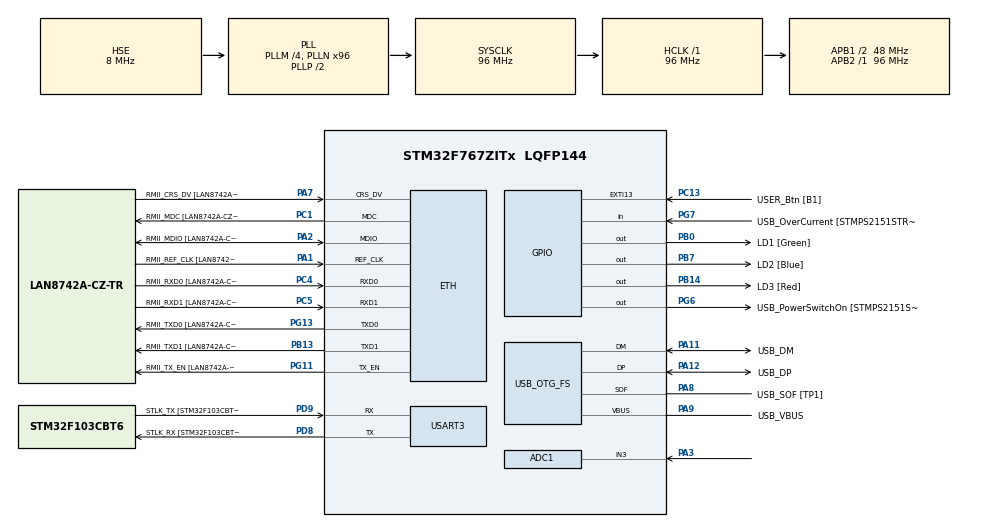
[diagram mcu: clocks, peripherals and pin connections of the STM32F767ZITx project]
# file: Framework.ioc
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ADC1.Channel-0\#ChannelRegularConversion=ADC_CHANNEL_3
ADC1.ClockPrescaler=ADC_CLOCK_SYNC_PCLK_DIV8
ADC1.ContinuousConvMode=ENABLE
ADC1.DMAContinuousRequests=DISABLE
ADC1.NbrOfConversionFlag=1
ADC1.Rank-0\#ChannelRegularConversion=1
ADC1.SamplingTime-0\#ChannelRegularConversion=ADC_SAMPLETIME_3CYCLES
ADC1.master=1
ETH.MediaInterface=HAL_ETH_RMII_MODE
ETH.PHY_Name=LAN8742A_PHY_ADDRESS
ETH.PHY_Value=0
ETH.PhyAddress=0
Mcu.Family=STM32F7
Mcu.Name=STM32F767ZITx
Mcu.Package=LQFP144
NVIC.EXTI15_10_IRQn=true\:0\:0\:false\:false\:true\:true\:true\:true
NVIC.PriorityGroup=NVIC_PRIORITYGROUP_4
NVIC.TIM6_DAC_IRQn=true\:0\:0\:false\:false\:true\:true\:true\:true
NVIC.USART3_IRQn=true\:0\:0\:false\:false\:true\:true\:true\:true
PA1.GPIO_Label=RMII_REF_CLK [LAN8742A-CZ-TR_REFCLK0]
PA1.Mode=RMII
PA1.Signal=ETH_REF_CLK
PA10.GPIO_Label=USB_ID
PA10.Signal=USB_OTG_FS_ID
PA11.GPIO_Label=USB_DM
PA11.Mode=Device_Only
PA11.Signal=USB_OTG_FS_DM
PA12.GPIO_Label=USB_DP
PA12.Mode=Device_Only
PA12.Signal=USB_OTG_FS_DP
PA13.GPIO_Label=TMS
PA13.Mode=Serial_Wire
PA13.Signal=SYS_JTMS-SWDIO
PA14.GPIO_Label=TCK
PA14.Mode=Serial_Wire
PA14.Signal=SYS_JTCK-SWCLK
PA2.GPIO_Label=RMII_MDIO [LAN8742A-CZ-TR_MDIO]
PA2.Mode=RMII
PA2.Signal=ETH_MDIO
PA3.Signal=ADCx_IN3
PA7.GPIO_Label=RMII_CRS_DV [LAN8742A-CZ-TR_CRS_DV]
PA7.Mode=RMII
PA7.Signal=ETH_CRS_DV
PA8.GPIO_Label=USB_SOF [TP1]
PA8.Mode=Activate_SOF_FS
PA8.Signal=USB_OTG_FS_SOF
PA9.GPIO_Label=USB_VBUS
PA9.Mode=Activate_VBUS
PA9.Signal=USB_OTG_FS_VBUS
PB0.GPIO_Label=LD1 [Green]
PB0.Signal=GPIO_Output
PB13.GPIO_Label=RMII_TXD1 [LAN8742A-CZ-TR_TXD1]
PB13.Mode=RMII
PB13.Signal=ETH_TXD1
PB14.GPIO_Label=LD3 [Red]
PB14.Signal=GPIO_Output
PB3.GPIO_Label=SWO
PB3.Signal=SYS_JTDO-SWO
PB7.GPIO_Label=LD2 [Blue]
PB7.Signal=GPIO_Output
PC1.GPIO_Label=RMII_MDC [LAN8742A-CZ-TR_MDC]
PC1.Mode=RMII
PC1.Signal=ETH_MDC
PC13.GPIO_Label=USER_Btn [B1]
PC13.GPIO_PuPd=GPIO_PULLDOWN
PC13.Signal=GPXTI13
PC14/OSC32_IN.Mode=LSE-External-Oscillator
PC14/OSC32_IN.Signal=RCC_OSC32_IN
PC15/OSC32_OUT.Mode=LSE-External-Oscillator
PC15/OSC32_OUT.Signal=RCC_OSC32_OUT
PC4.GPIO_Label=RMII_RXD0 [LAN8742A-CZ-TR_RXD0]
PC4.Mode=RMII
PC4.Signal=ETH_RXD0
PC5.GPIO_Label=RMII_RXD1 [LAN8742A-CZ-TR_RXD1]
PC5.Mode=RMII
PC5.Signal=ETH_RXD1
PD8.GPIO_Label=STLK_RX [STM32F103CBT6_PA3]
PD8.Mode=Asynchronous
PD8.Signal=USART3_TX
PD9.GPIO_Label=STLK_TX [STM32F103CBT6_PA2]
PD9.Mode=Asynchronous
PD9.Signal=USART3_RX
PG11.GPIO_Label=RMII_TX_EN [LAN8742A-CZ-TR_TXEN]
PG11.Mode=RMII
PG11.Signal=ETH_TX_EN
PG13.GPIO_Label=RMII_TXD0 [LAN8742A-CZ-TR_TXD0]
PG13.Mode=RMII
PG13.Signal=ETH_TXD0
PG6.GPIO_Label=USB_PowerSwitchOn [STMPS2151STR_EN]
PG6.Signal=GPIO_Output
PG7.GPIO_Label=USB_OverCurrent [STMPS2151STR_FAULT]
PG7.Signal=GPIO_Input
PH0/OSC_IN.GPIO_Label=MCO [STM32F103CBT6_PA8]
PH0/OSC_IN.Mode=HSE-External-Clock-Source
PH0/OSC_IN.Signal=RCC_OSC_IN
PH1/OSC_OUT.Mode=HSE-External-Clock-Source
PH1/OSC_OUT.Signal=RCC_OSC_OUT
ProjectManager.HeapSize=0x200
ProjectManager.StackSize=0x400
ProjectManager.TargetToolchain=STM32CubeIDE
RCC.48MHZClocksFreq_Value=24000000
RCC.AHBFreq_Value=96000000
RCC.APB1CLKDivider=RCC_HCLK_DIV2
RCC.APB1Freq_Value=48000000
RCC.APB1TimFreq_Value=96000000
RCC.APB2Freq_Value=96000000
RCC.APB2TimFreq_Value=96000000
RCC.CortexFreq_Value=96000000
RCC.HCLKFreq_Value=96000000
RCC.HSE_VALUE=8000000
RCC.HSI_VALUE=16000000
RCC.PLLM=4
RCC.PLLMUL=RCC_PLL_MUL9
RCC.PLLN=96
RCC.PLLQ=4
RCC.PRESCALERUSB=RCC_USBCLKSOURCE_PLL_DIV1_5
RCC.SYSCLKFreq_VALUE=96000000
RCC.SYSCLKSource=RCC_SYSCLKSOURCE_PLLCLK
RCC.SYSCLKSourceVirtual=RCC_SYSCLKSOURCE_PLLCLK
RCC.USBFreq_Value=48000000
RCC.VCOOutputFreq_Value=192000000
SH.ADCx_IN3.0=ADC1_IN3,IN3
TIM6.Period=800-1
TIM6.Prescaler=24-1
USART3.VirtualMode-Asynchronous=VM_ASYNC
USB_OTG_FS.VirtualMode=Device_Only
VP_RTC_VS_RTC_Activate.Mode=RTC_Enabled
VP_RTC_VS_RTC_Calendar.Mode=RTC_Calendar
VP_TIM6_VS_ClockSourceINT.Mode=Enable_Timer
board=NUCLEO-F767ZI

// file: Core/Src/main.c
/* USER CODE BEGIN Header */
/**
 ******************************************************************************
 * @file           : main.c
 * @brief          : Main program body
 ******************************************************************************
 * @attention
 *
 * Copyright (c) 2023 STMicroelectronics.
 * All rights reserved.
 *
 * This software is licensed under terms that can be found in the LICENSE file
 * in the root directory of this software component.
 * If no LICENSE file comes with this software, it is provided AS-IS.
 *
 ******************************************************************************
 */
/* USER CODE END Header */
#include "main.h"
#include "string.h"

/* USER CODE BEGIN Includes */
#include <stdio.h>
#include <stdbool.h>
#include <stdlib.h>
#include <stdint.h>
#include <math.h>
#include <float.h>
#include "mylib.h"
#include "wavelib.h"
#include "retarget.h"
#include "defines.h"
#include "model.h"
/* USER CODE END Includes */

#if defined ( __ICCARM__ ) /*!< IAR Compiler */
#pragma location=0x2007c000
ETH_DMADescTypeDef  DMARxDscrTab[ETH_RX_DESC_CNT]; /* Ethernet Rx DMA Descriptors */
#pragma location=0x2007c0a0
ETH_DMADescTypeDef  DMATxDscrTab[ETH_TX_DESC_CNT]; /* Ethernet Tx DMA Descriptors */

#elif defined ( __CC_ARM )  /* MDK ARM Compiler */

__attribute__((at(0x2007c000))) ETH_DMADescTypeDef  DMARxDscrTab[ETH_RX_DESC_CNT]; /* Ethernet Rx DMA Descriptors */
__attribute__((at(0x2007c0a0))) ETH_DMADescTypeDef  DMATxDscrTab[ETH_TX_DESC_CNT]; /* Ethernet Tx DMA Descriptors */

#elif defined ( __GNUC__ ) /* GNU Compiler */
ETH_DMADescTypeDef DMARxDscrTab[ETH_RX_DESC_CNT] __attribute__((section(".RxDecripSection"))); /* Ethernet Rx DMA Descriptors */
ETH_DMADescTypeDef DMATxDscrTab[ETH_TX_DESC_CNT] __attribute__((section(".TxDecripSection")));   /* Ethernet Tx DMA Descriptors */

#endif

ETH_TxPacketConfig TxConfig;

ADC_HandleTypeDef hadc1;

ETH_HandleTypeDef heth;

RTC_HandleTypeDef hrtc;

TIM_HandleTypeDef htim6;

UART_HandleTypeDef huart3;

PCD_HandleTypeDef hpcd_USB_OTG_FS;

/* USER CODE BEGIN PV */
bool snap_request 	= FALSE;					// set true to request a snapshot acquisition
bool snap_recorded 	= FALSE;					// snap recording finished flag
bool evaluate_flag 	= FALSE;					// evaluate snap request flag
bool transmit_flag 	= FALSE;					// evaluate snap request flag
uint16_t adc_buf[ADC_BUF_LEN]; 					// reserve a buffer for the analogue readings
uint16_t timer_index = 0;						// index for the timer interrupt analog conversion

int feat_len = TD_FEAT + pow(2,TREE_DEPTH); 	// features array length
double *feat_array = NULL;					/* features array {0, ... ,TD_FEAT-1, TDFEAT, feat_len-1}
																time-domain		...		freq-domain		*/
double *feat_stdsd = NULL;
char timestamp[13];								// timestamp string
uint32_t tickmem = 0;							// for debluncing the INPUT
/* USER CODE END PV */

void SystemClock_Config(void);
static void MX_GPIO_Init(void);
static void MX_USART3_UART_Init(void);
static void MX_USB_OTG_FS_PCD_Init(void);
static void MX_ADC1_Init(void);
static void MX_ETH_Init(void);
static void MX_TIM6_Init(void);
static void MX_RTC_Init(void);

int main(void)
{
  /* USER CODE BEGIN 1 */
	int feat_len = TD_FEAT + pow(2,TREE_DEPTH); 			// features array length
	feat_array = (double *)malloc(sizeof(double) * feat_len);	/* features array {0, ... ,TD_FEAT-1, TDFEAT, feat_len-1}
																	time-domain		...		freq-domain		*/
	feat_stdsd = (double *)malloc(sizeof(double) * feat_len); // standardised features
	uint8_t Rx_data[10];  //  creating a buffer of 10 bytes to hold the command from python
  /* USER CODE END 1 */

  /* MCU Configuration--------------------------------------------------------*/

  /* Reset of all peripherals, Initializes the Flash interface and the Systick. */
  HAL_Init();

  /* Configure the system clock */
  SystemClock_Config();

  /* Initialize all configured peripherals */
  MX_GPIO_Init();
  MX_USART3_UART_Init();
  MX_USB_OTG_FS_PCD_Init();
  MX_ADC1_Init();
  MX_ETH_Init();
  MX_TIM6_Init();
  MX_RTC_Init();
  /* USER CODE BEGIN 2 */
	RetargetInit(&huart3); 						// redirect printf and scanf to huart
	HAL_TIM_Base_Start_IT(&htim6);  			// start the timer 5 kHz
	HAL_UART_Receive_IT(&huart2, Rx_data, 4); 	// start new data read from huart
  /* USER CODE END 2 */

  /* Infinite loop */
  /* USER CODE BEGIN WHILE */
	printf(" \r\n Entering the superloop... \r\n");
	while (1)
	{
		snapReadyHandler();

    /* USER CODE END WHILE */

	}
}

void SystemClock_Config(void)
{
  RCC_OscInitTypeDef RCC_OscInitStruct = {0};
  RCC_ClkInitTypeDef RCC_ClkInitStruct = {0};

  /** Configure LSE Drive Capability
  */
  HAL_PWR_EnableBkUpAccess();

  /** Configure the main internal regulator output voltage
  */
  __HAL_RCC_PWR_CLK_ENABLE();
  __HAL_PWR_VOLTAGESCALING_CONFIG(PWR_REGULATOR_VOLTAGE_SCALE3);

  /** Initializes the RCC Oscillators according to the specified parameters
  * in the RCC_OscInitTypeDef structure.
  */
  RCC_OscInitStruct.OscillatorType = RCC_OSCILLATORTYPE_LSI|RCC_OSCILLATORTYPE_HSE;
  RCC_OscInitStruct.HSEState = RCC_HSE_BYPASS;
  RCC_OscInitStruct.LSIState = RCC_LSI_ON;
  RCC_OscInitStruct.PLL.PLLState = RCC_PLL_ON;
  RCC_OscInitStruct.PLL.PLLSource = RCC_PLLSOURCE_HSE;
  RCC_OscInitStruct.PLL.PLLM = 4;
  RCC_OscInitStruct.PLL.PLLN = 96;
  RCC_OscInitStruct.PLL.PLLP = RCC_PLLP_DIV2;
  RCC_OscInitStruct.PLL.PLLQ = 4;
  RCC_OscInitStruct.PLL.PLLR = 2;
  if (HAL_RCC_OscConfig(&RCC_OscInitStruct) != HAL_OK)
  {
    Error_Handler();
  }

  /** Activate the Over-Drive mode
  */
  if (HAL_PWREx_EnableOverDrive() != HAL_OK)
  {
    Error_Handler();
  }

  /** Initializes the CPU, AHB and APB buses clocks
  */
  RCC_ClkInitStruct.ClockType = RCC_CLOCKTYPE_HCLK|RCC_CLOCKTYPE_SYSCLK
                              |RCC_CLOCKTYPE_PCLK1|RCC_CLOCKTYPE_PCLK2;
  RCC_ClkInitStruct.SYSCLKSource = RCC_SYSCLKSOURCE_PLLCLK;
  RCC_ClkInitStruct.AHBCLKDivider = RCC_SYSCLK_DIV1;
  RCC_ClkInitStruct.APB1CLKDivider = RCC_HCLK_DIV2;
  RCC_ClkInitStruct.APB2CLKDivider = RCC_HCLK_DIV1;

  if (HAL_RCC_ClockConfig(&RCC_ClkInitStruct, FLASH_LATENCY_3) != HAL_OK)
  {
    Error_Handler();
  }
}

static void MX_ADC1_Init(void)
{

  ADC_ChannelConfTypeDef sConfig = {0};

  /** Configure the global features of the ADC (Clock, Resolution, Data Alignment and number of conversion)
  */
  hadc1.Instance = ADC1;
  hadc1.Init.ClockPrescaler = ADC_CLOCK_SYNC_PCLK_DIV8;
  hadc1.Init.Resolution = ADC_RESOLUTION_12B;
  hadc1.Init.ScanConvMode = ADC_SCAN_DISABLE;
  hadc1.Init.ContinuousConvMode = ENABLE;
  hadc1.Init.DiscontinuousConvMode = DISABLE;
  hadc1.Init.ExternalTrigConvEdge = ADC_EXTERNALTRIGCONVEDGE_NONE;
  hadc1.Init.ExternalTrigConv = ADC_SOFTWARE_START;
  hadc1.Init.DataAlign = ADC_DATAALIGN_RIGHT;
  hadc1.Init.NbrOfConversion = 1;
  hadc1.Init.DMAContinuousRequests = DISABLE;
  hadc1.Init.EOCSelection = ADC_EOC_SINGLE_CONV;
  if (HAL_ADC_Init(&hadc1) != HAL_OK)
  {
    Error_Handler();
  }

  /** Configure for the selected ADC regular channel its corresponding rank in the sequencer and its sample time.
  */
  sConfig.Channel = ADC_CHANNEL_3;
  sConfig.Rank = ADC_REGULAR_RANK_1;
  sConfig.SamplingTime = ADC_SAMPLETIME_3CYCLES;
  if (HAL_ADC_ConfigChannel(&hadc1, &sConfig) != HAL_OK)
  {
    Error_Handler();
  }

}

static void MX_ETH_Init(void)
{

   static uint8_t MACAddr[6];

  heth.Instance = ETH;
  MACAddr[0] = 0x00;
  MACAddr[1] = 0x80;
  MACAddr[2] = 0xE1;
  MACAddr[3] = 0x00;
  MACAddr[4] = 0x00;
  MACAddr[5] = 0x00;
  heth.Init.MACAddr = &MACAddr[0];
  heth.Init.MediaInterface = HAL_ETH_RMII_MODE;
  heth.Init.TxDesc = DMATxDscrTab;
  heth.Init.RxDesc = DMARxDscrTab;
  heth.Init.RxBuffLen = 1524;

  if (HAL_ETH_Init(&heth) != HAL_OK)
  {
    Error_Handler();
  }

  memset(&TxConfig, 0 , sizeof(ETH_TxPacketConfig));
  TxConfig.Attributes = ETH_TX_PACKETS_FEATURES_CSUM | ETH_TX_PACKETS_FEATURES_CRCPAD;
  TxConfig.ChecksumCtrl = ETH_CHECKSUM_IPHDR_PAYLOAD_INSERT_PHDR_CALC;
  TxConfig.CRCPadCtrl = ETH_CRC_PAD_INSERT;

}

static void MX_RTC_Init(void)
{

  RTC_TimeTypeDef sTime = {0};
  RTC_DateTypeDef sDate = {0};

  /** Initialize RTC Only
  */
  hrtc.Instance = RTC;
  hrtc.Init.HourFormat = RTC_HOURFORMAT_24;
  hrtc.Init.AsynchPrediv = 127;
  hrtc.Init.SynchPrediv = 255;
  hrtc.Init.OutPut = RTC_OUTPUT_DISABLE;
  hrtc.Init.OutPutPolarity = RTC_OUTPUT_POLARITY_HIGH;
  hrtc.Init.OutPutType = RTC_OUTPUT_TYPE_OPENDRAIN;
  if (HAL_RTC_Init(&hrtc) != HAL_OK)
  {
    Error_Handler();
  }

  /** Initialize RTC and set the Time and Date
  */
  sTime.Hours = 0x0;
  sTime.Minutes = 0x0;
  sTime.Seconds = 0x0;
  sTime.DayLightSaving = RTC_DAYLIGHTSAVING_NONE;
  sTime.StoreOperation = RTC_STOREOPERATION_RESET;
  if (HAL_RTC_SetTime(&hrtc, &sTime, RTC_FORMAT_BCD) != HAL_OK)
  {
    Error_Handler();
  }
  sDate.WeekDay = RTC_WEEKDAY_MONDAY;
  sDate.Month = RTC_MONTH_JANUARY;
  sDate.Date = 0x1;
  sDate.Year = 0x0;

  if (HAL_RTC_SetDate(&hrtc, &sDate, RTC_FORMAT_BCD) != HAL_OK)
  {
    Error_Handler();
  }

}

static void MX_TIM6_Init(void)
{

  TIM_MasterConfigTypeDef sMasterConfig = {0};

  htim6.Instance = TIM6;
  htim6.Init.Prescaler = 24-1;
  htim6.Init.CounterMode = TIM_COUNTERMODE_UP;
  htim6.Init.Period = 800-1;
  htim6.Init.AutoReloadPreload = TIM_AUTORELOAD_PRELOAD_DISABLE;
  if (HAL_TIM_Base_Init(&htim6) != HAL_OK)
  {
    Error_Handler();
  }
  sMasterConfig.MasterOutputTrigger = TIM_TRGO_RESET;
  sMasterConfig.MasterSlaveMode = TIM_MASTERSLAVEMODE_DISABLE;
  if (HAL_TIMEx_MasterConfigSynchronization(&htim6, &sMasterConfig) != HAL_OK)
  {
    Error_Handler();
  }

}

static void MX_USART3_UART_Init(void)
{

  huart3.Instance = USART3;
  huart3.Init.BaudRate = 115200;
  huart3.Init.WordLength = UART_WORDLENGTH_8B;
  huart3.Init.StopBits = UART_STOPBITS_1;
  huart3.Init.Parity = UART_PARITY_NONE;
  huart3.Init.Mode = UART_MODE_TX_RX;
  huart3.Init.HwFlowCtl = UART_HWCONTROL_NONE;
  huart3.Init.OverSampling = UART_OVERSAMPLING_16;
  huart3.Init.OneBitSampling = UART_ONE_BIT_SAMPLE_DISABLE;
  huart3.AdvancedInit.AdvFeatureInit = UART_ADVFEATURE_NO_INIT;
  if (HAL_UART_Init(&huart3) != HAL_OK)
  {
    Error_Handler();
  }

}

static void MX_USB_OTG_FS_PCD_Init(void)
{

  hpcd_USB_OTG_FS.Instance = USB_OTG_FS;
  hpcd_USB_OTG_FS.Init.dev_endpoints = 6;
  hpcd_USB_OTG_FS.Init.speed = PCD_SPEED_FULL;
  hpcd_USB_OTG_FS.Init.dma_enable = DISABLE;
  hpcd_USB_OTG_FS.Init.phy_itface = PCD_PHY_EMBEDDED;
  hpcd_USB_OTG_FS.Init.Sof_enable = ENABLE;
  hpcd_USB_OTG_FS.Init.low_power_enable = DISABLE;
  hpcd_USB_OTG_FS.Init.lpm_enable = DISABLE;
  hpcd_USB_OTG_FS.Init.vbus_sensing_enable = ENABLE;
  hpcd_USB_OTG_FS.Init.use_dedicated_ep1 = DISABLE;
  if (HAL_PCD_Init(&hpcd_USB_OTG_FS) != HAL_OK)
  {
    Error_Handler();
  }

}

static void MX_GPIO_Init(void)
{
  GPIO_InitTypeDef GPIO_InitStruct = {0};

  /* GPIO Ports Clock Enable */
  __HAL_RCC_GPIOC_CLK_ENABLE();
  __HAL_RCC_GPIOH_CLK_ENABLE();
  __HAL_RCC_GPIOA_CLK_ENABLE();
  __HAL_RCC_GPIOB_CLK_ENABLE();
  __HAL_RCC_GPIOD_CLK_ENABLE();
  __HAL_RCC_GPIOG_CLK_ENABLE();

  /*Configure GPIO pin Output Level */
  HAL_GPIO_WritePin(GPIOB, LD1_Pin|LD3_Pin|LD2_Pin, GPIO_PIN_RESET);

  /*Configure GPIO pin Output Level */
  HAL_GPIO_WritePin(USB_PowerSwitchOn_GPIO_Port, USB_PowerSwitchOn_Pin, GPIO_PIN_RESET);

  /*Configure GPIO pin : USER_Btn_Pin */
  GPIO_InitStruct.Pin = USER_Btn_Pin;
  GPIO_InitStruct.Mode = GPIO_MODE_IT_RISING;
  GPIO_InitStruct.Pull = GPIO_PULLDOWN;
  HAL_GPIO_Init(USER_Btn_GPIO_Port, &GPIO_InitStruct);

  /*Configure GPIO pins : LD1_Pin LD3_Pin LD2_Pin */
  GPIO_InitStruct.Pin = LD1_Pin|LD3_Pin|LD2_Pin;
  GPIO_InitStruct.Mode = GPIO_MODE_OUTPUT_PP;
  GPIO_InitStruct.Pull = GPIO_NOPULL;
  GPIO_InitStruct.Speed = GPIO_SPEED_FREQ_LOW;
  HAL_GPIO_Init(GPIOB, &GPIO_InitStruct);

  /*Configure GPIO pin : USB_PowerSwitchOn_Pin */
  GPIO_InitStruct.Pin = USB_PowerSwitchOn_Pin;
  GPIO_InitStruct.Mode = GPIO_MODE_OUTPUT_PP;
  GPIO_InitStruct.Pull = GPIO_NOPULL;
  GPIO_InitStruct.Speed = GPIO_SPEED_FREQ_LOW;
  HAL_GPIO_Init(USB_PowerSwitchOn_GPIO_Port, &GPIO_InitStruct);

  /*Configure GPIO pin : USB_OverCurrent_Pin */
  GPIO_InitStruct.Pin = USB_OverCurrent_Pin;
  GPIO_InitStruct.Mode = GPIO_MODE_INPUT;
  GPIO_InitStruct.Pull = GPIO_NOPULL;
  HAL_GPIO_Init(USB_OverCurrent_GPIO_Port, &GPIO_InitStruct);

  /* EXTI interrupt init*/
  HAL_NVIC_SetPriority(EXTI15_10_IRQn, 0, 0);
  HAL_NVIC_EnableIRQ(EXTI15_10_IRQn);

}

/* USER CODE BEGIN 4 */
void setRTCclock() {
	RTC_TimeTypeDef sTime;
	RTC_DateTypeDef sDate;

	int year, month, day, hour, minute, second;

	// Get date and time from the user
	printf("Enter the date and time (YYYY MM DD hh mm ss): ");
	scanf("%d %d %d %d %d %d", &year, &month, &day, &hour, &minute, &second);

	// Set the Date
	sDate.Year = year - 2000;
	sDate.Month = month;
	sDate.Date = day;
	sDate.WeekDay = RTC_WEEKDAY_MONDAY;

	if (HAL_RTC_SetDate(&hrtc, &sDate, RTC_FORMAT_BIN) != HAL_OK) {
		/* Initialization Error */
		Error_Handler();
	}

	// Set the Time
	sTime.Hours = hour;
	sTime.Minutes = minute;
	sTime.Seconds = second;
	sTime.DayLightSaving = RTC_DAYLIGHTSAVING_NONE;
	sTime.StoreOperation = RTC_STOREOPERATION_RESET;

	if (HAL_RTC_SetTime(&hrtc, &sTime, RTC_FORMAT_BIN) != HAL_OK) {
		/* Initialization Error */
		Error_Handler();
	}

	printf("RTC clock set successfully.\n");
	return;
}

void get_time()
{
	RTC_DateTypeDef gDate;
	RTC_TimeTypeDef gTime;
	/* Get the RTC current Time */
	HAL_RTC_GetTime(&hrtc, &gTime, RTC_FORMAT_BIN);
	/* Get the RTC current Date */
	HAL_RTC_GetDate(&hrtc, &gDate, RTC_FORMAT_BIN);
	/* Display time Format: YYYYMMDDhhmmss */
	sprintf(timestamp,"%04d%02d%02d%02d%02d%02d",2000 + gDate.Year,gDate.Month, gDate.Date,gTime.Hours, gTime.Minutes, gTime.Seconds);
	return ;
}

void acquireSnapshot(){
	snap_recorded = FALSE;						// clear ouput flag
	snap_request = TRUE;						// request a snapshot
	return;
}

double calcSnapDistanceError(){
	double distance_assgined_cluster = DBL_MAX; // initialise the minimum distance to MAX double possible, update it
	// and than it is the distance to the assigned cluster
	double distance, error;
	int assigned_cluster = -1;	// initialise to impossible value
	for (int i = 0; i < n_clusters; ++i) {
		distance = eucDist(feat_stdsd, centers[i], feat_len); // compute the distance to all the centers (WARNING!!! - not sure if centers[i] works)
		if(distance < distance_assgined_cluster){			// if found a new minimum, save it
			assigned_cluster = i;	// assign a new cluster
			distance_assgined_cluster = distance;			// assign the distance to current cluster
		}
	}
	error = (distance_assgined_cluster-radiuses[assigned_cluster])/radiuses[assigned_cluster]; // removed because division by 0 problem - redone because now min cluster size = 2
	return error;
}

void std_sclr(){
	for(int i=0; i<feat_len; i++){
		feat_stdsd[i]=(feat_array[i]-means[i])/stds[i];
	}
}

void snapReadyHandler(){
	if(!snap_recorded){
		return;
	}
	else
	{
		snap_recorded = FALSE;						// reset the recorded flag, because the sample has been consumed

		/* ACTIONS TO PERFORM WHEN A NEW TIME-DOMAIN SNAP IS READY */
		feat_array = featureExtractor(adc_buf, ADC_BUF_LEN, TREE_DEPTH, feat_array); // extract the features
		if (transmit_flag){
			myprintf("the time-domain sampled signal is: \r\n\n");
			if(VERBOSE){printUint16_tArray(adc_buf, ADC_BUF_LEN);}
			get_time(timestamp);
			printf(" \r\nSnapshot recorded. \r\nTimestamp: %s \r\nFeatures: \r\n",timestamp);
			printDoubleArray(feat_array, feat_len);
			printf(" \r\nEnd of features. \r\n");
			transmit_flag = FALSE;
		}
		if(evaluate_flag){ // evaluate the snaposhot
			std_sclr();  	// standardise the snapshot
			double indicator;
			indicator = calcSnapDistanceError();
			printf("%e",indicator);
			evaluate_flag = FALSE;
		}
		HAL_UART_Receive_IT(&huart2, Rx_data, 4); // start new data read from huart
		return;
	}
}

void USR_BTN_handler(){							// handle the press of user button
	/* debounce the button */
	uint16_t current_time = HAL_GetTick();
	if ((tickmem + 100) > current_time){
		return;
	}
	else{
		tickmem = HAL_GetTick();
	}

	printf(" \r\nPlease enter a command: \r\n-1 = acquire and transmit a snapshot (time-domain) \r\n-2 = set the clock \r\n");
	printf("-3 = acquire and evaluate a snapshot \r\n");
	printf("-4 = acquire, evaluate and transmit a snapshot \r\n");
	int command;
	//scanf("%u", &command);
	command = 4; // for testing
	switch(command){
	case 1:
		acquireSnapshot();
		transmit_flag = TRUE;
		break;
	case 2:
		setRTCclock();
		break;
	case 3:
		acquireSnapshot();
		evaluate_flag = TRUE;
	case 4:
		acquireSnapshot();
		transmit_flag = TRUE;
		evaluate_flag = TRUE;
	}
	command = 0;								//	reset command
	return;
}

void HAL_GPIO_EXTI_Callback(uint16_t GPIO_Pin) // GPIO interrupt handler
{
	if(GPIO_Pin == 0x2000){ // if user btn is pressed
		USR_BTN_handler();
	}
	else{
		printf("Unknown GPIO interrupt happened");
	}
}

void HAL_UART_RxCpltCallback(UART_HandleTypeDef *huart)
{
  // this is executed when the data is received from HUART
	printf(Rx_data);
}

void HAL_TIM_PeriodElapsedCallback(TIM_HandleTypeDef *htim){
	if(htim == &htim6 && snap_request == TRUE){ // if the timer is the analog management and the conversion is REQUESTED
		// Get ADC value
		HAL_ADC_Start(&hadc1);
		HAL_ADC_PollForConversion(&hadc1, HAL_MAX_DELAY);
		adc_buf[timer_index]= HAL_ADC_GetValue(&hadc1); // save the value in the array
		HAL_GPIO_TogglePin(GPIOB, LED_GRE);			// for debug purposes
		timer_index ++;
		if(timer_index>=ADC_BUF_LEN){					// if acquisition completed
			timer_index=0;								// reset index for next time
			snap_recorded = TRUE; 						// conversion complete flag
			snap_request = 	FALSE;						// conversion completed, reset request
		}
	}
}

/* USER CODE END 4 */

void Error_Handler(void)
{
  /* USER CODE BEGIN Error_Handler_Debug */
	/* User can add his own implementation to report the HAL error return state */
	__disable_irq();
	while (1)
	{
		HAL_GPIO_TogglePin(GPIOB, LED_RED);
	}
  /* USER CODE END Error_Handler_Debug */
}
